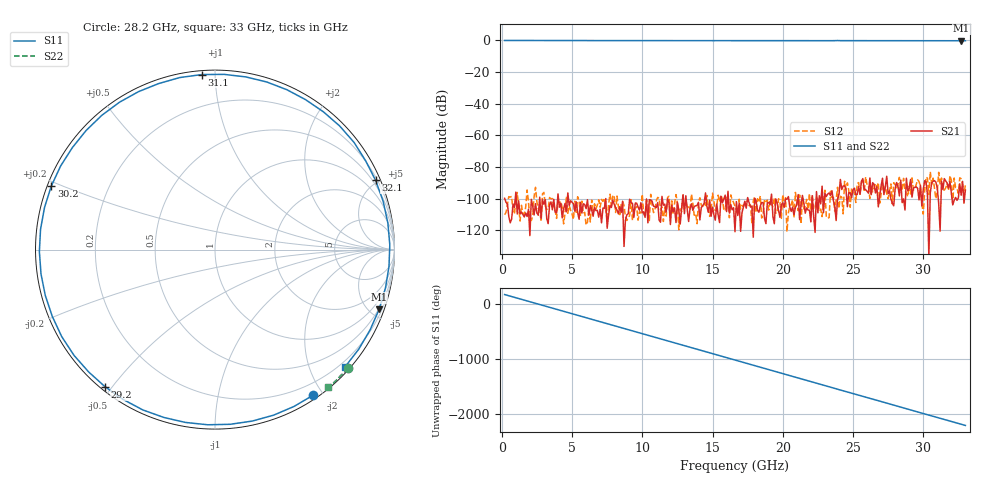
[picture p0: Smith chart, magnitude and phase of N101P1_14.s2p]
# GHZ S RI R 50
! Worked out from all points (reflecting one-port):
!   329 points, 200 MHz to 33 GHz, reference 50 ohm
!   lowest |S11| = -0.2 dB at 32.7 GHz (marker M1), VSWR 73.33, Z = 22.4 - j281 ohm
!   phase of S11 starts at 165 deg and turns -2367 deg over the sweep
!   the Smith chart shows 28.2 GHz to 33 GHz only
!   S11 on the Smith chart (normalised r, x): 28.2 GHz: 0.05, -1.88; 29.2 GHz: 0.01, -0.48; 30.2 GHz: 0.01, +0.19; 31.1 GHz: 0.02, +0.93; 32.1 GHz: 0.32, +4.82; 33 GHz: 0.10, -2.60
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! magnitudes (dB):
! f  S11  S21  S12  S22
! 200 MHz  0.0  -99.7  -110.2  0.0
! 5.7 GHz  -0.1  -109.1  -101.5  0.0
! 8.8 GHz  -0.1  -113.6  -111.3  0.0
! 11.2 GHz  -0.1  -113.6  -99.8  0.0
! 16.6 GHz  -0.1  -120.9  -104.9  0.0
! 19.5 GHz  -0.1  -100.2  -109.2  0.0
! 22.1 GHz  -0.2  -98.2  -97.5  0.0
! 22.8 GHz  -0.2  -92.1  -111.3  0.0
! 23.6 GHz  -0.2  -101.1  -99.1  0.0
! 23.7 GHz  -0.2  -104.5  -108.2  0.0
! 23.9 GHz  -0.1  -100.0  -92.8  0.1
! 24.1 GHz  -0.1  -87.9  -98.5  0.0
! 24.5 GHz  -0.1  -94.2  -93.9  0.0
! 27.6 GHz  -0.2  -95.1  -94.9  0.0
! 28.2 GHz  -0.2  -92.1  -90.9  -0.1
! 29.2 GHz  -0.2  -99.1  -86.8  -0.1
! 30.2 GHz  -0.2  -89.2  -86.3  -0.1
! 31.1 GHz  -0.2  -103.0  -83.3  -0.1
! 31.9 GHz  -0.2  -89.2  -85.4  0.0
! 32.1 GHz  -0.2  -103.9  -103.3  -0.1
! 32.7 GHz  -0.2  -97.8  -87.4  -0.1
! 33 GHz  -0.2  -94.6  -91.3  -0.1
